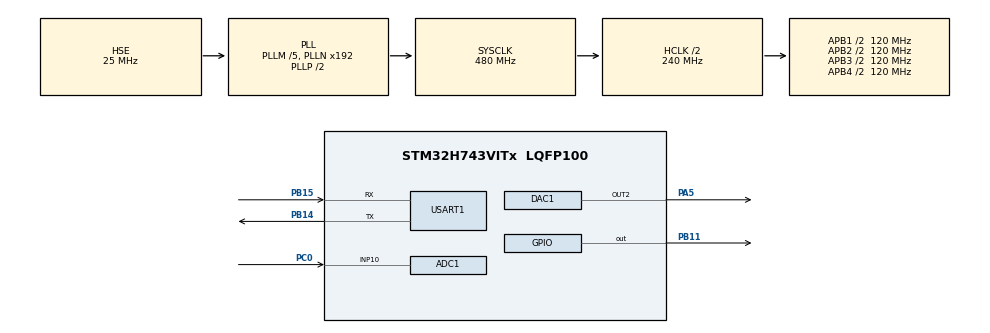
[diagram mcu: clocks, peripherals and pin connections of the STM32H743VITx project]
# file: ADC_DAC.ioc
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ADC1.Channel-1\#ChannelRegularConversion=ADC_CHANNEL_10
ADC1.ClockPrescaler=ADC_CLOCK_ASYNC_DIV1
ADC1.ConversionDataManagement=ADC_CONVERSIONDATA_DMA_CIRCULAR
ADC1.ExternalTrigConv=ADC_EXTERNALTRIG_T15_TRGO
ADC1.NbrOfConversion=1
ADC1.NbrOfConversionFlag=1
ADC1.OffsetNumber-1\#ChannelRegularConversion=ADC_OFFSET_NONE
ADC1.OffsetSignedSaturation-1\#ChannelRegularConversion=DISABLE
ADC1.Rank-1\#ChannelRegularConversion=1
ADC1.SamplingTime-1\#ChannelRegularConversion=ADC_SAMPLETIME_1CYCLE_5
ADC1.master=1
CORTEX_M7.AccessPermission-Cortex_Memory_Protection_Unit_Region0_Settings=MPU_REGION_FULL_ACCESS
CORTEX_M7.AccessPermission-Cortex_Memory_Protection_Unit_Region1_Settings=MPU_REGION_FULL_ACCESS
CORTEX_M7.AccessPermission-Cortex_Memory_Protection_Unit_Region2_Settings=MPU_REGION_FULL_ACCESS
CORTEX_M7.AccessPermission-Cortex_Memory_Protection_Unit_Region3_Settings=MPU_REGION_FULL_ACCESS
CORTEX_M7.AccessPermission-Cortex_Memory_Protection_Unit_Region4_Settings=MPU_REGION_FULL_ACCESS
CORTEX_M7.AccessPermission_S-Cortex_Memory_Protection_Unit_Region1_Settings_S=MPU_REGION_FULL_ACCESS
CORTEX_M7.AccessPermission_S-Cortex_Memory_Protection_Unit_Region2_Settings_S=MPU_REGION_FULL_ACCESS
CORTEX_M7.AccessPermission_Spec=MPU_REGION_FULL_ACCESS
CORTEX_M7.BaseAddress-Cortex_Memory_Protection_Unit_Region0_Settings=0x24000000
CORTEX_M7.BaseAddress-Cortex_Memory_Protection_Unit_Region1_Settings=0x30000000
CORTEX_M7.BaseAddress-Cortex_Memory_Protection_Unit_Region2_Settings=0x30020000
CORTEX_M7.BaseAddress-Cortex_Memory_Protection_Unit_Region3_Settings=0x30040000
CORTEX_M7.BaseAddress-Cortex_Memory_Protection_Unit_Region4_Settings=0x38000000
CORTEX_M7.BaseAddress_S-Cortex_Memory_Protection_Unit_Region1_Settings_S=0x30000000
CORTEX_M7.BaseAddress_S-Cortex_Memory_Protection_Unit_Region2_Settings_S=0x30020000
CORTEX_M7.BaseAddress_Spec=0x24000000
CORTEX_M7.CPU_DCache=Enabled
CORTEX_M7.CPU_ICache=Enabled
CORTEX_M7.DisableExec_S-Cortex_Memory_Protection_Unit_Region1_Settings_S=MPU_INSTRUCTION_ACCESS_ENABLE
CORTEX_M7.DisableExec_S-Cortex_Memory_Protection_Unit_Region2_Settings_S=MPU_INSTRUCTION_ACCESS_ENABLE
CORTEX_M7.DisableExec_Spec=MPU_INSTRUCTION_ACCESS_ENABLE
CORTEX_M7.Enable-Cortex_Memory_Protection_Unit_Region0_Settings=MPU_REGION_ENABLE
CORTEX_M7.Enable-Cortex_Memory_Protection_Unit_Region1_Settings=MPU_REGION_ENABLE
CORTEX_M7.Enable-Cortex_Memory_Protection_Unit_Region2_Settings=MPU_REGION_ENABLE
CORTEX_M7.Enable-Cortex_Memory_Protection_Unit_Region3_Settings=MPU_REGION_ENABLE
CORTEX_M7.Enable-Cortex_Memory_Protection_Unit_Region4_Settings=MPU_REGION_ENABLE
CORTEX_M7.Enable_S-Cortex_Memory_Protection_Unit_Region1_Settings_S=MPU_REGION_ENABLE
CORTEX_M7.Enable_S-Cortex_Memory_Protection_Unit_Region2_Settings_S=MPU_REGION_ENABLE
CORTEX_M7.IsBufferable-Cortex_Memory_Protection_Unit_Region0_Settings=MPU_ACCESS_BUFFERABLE
CORTEX_M7.IsBufferable_S-Cortex_Memory_Protection_Unit_Region1_Settings_S=MPU_ACCESS_NOT_BUFFERABLE
CORTEX_M7.IsBufferable_Spec=MPU_ACCESS_BUFFERABLE
CORTEX_M7.IsCacheable-Cortex_Memory_Protection_Unit_Region0_Settings=MPU_ACCESS_CACHEABLE
CORTEX_M7.IsCacheable_S-Cortex_Memory_Protection_Unit_Region1_Settings_S=MPU_ACCESS_NOT_CACHEABLE
CORTEX_M7.IsCacheable_Spec=MPU_ACCESS_CACHEABLE
CORTEX_M7.IsShareable_Spec=MPU_ACCESS_NOT_SHAREABLE
CORTEX_M7.MPU_Control=MPU_PRIVILEGED_DEFAULT
CORTEX_M7.Size-Cortex_Memory_Protection_Unit_Region0_Settings=MPU_REGION_SIZE_512KB
CORTEX_M7.Size-Cortex_Memory_Protection_Unit_Region1_Settings=MPU_REGION_SIZE_128KB
CORTEX_M7.Size-Cortex_Memory_Protection_Unit_Region2_Settings=MPU_REGION_SIZE_128KB
CORTEX_M7.Size-Cortex_Memory_Protection_Unit_Region3_Settings=MPU_REGION_SIZE_32KB
CORTEX_M7.Size-Cortex_Memory_Protection_Unit_Region4_Settings=MPU_REGION_SIZE_64KB
CORTEX_M7.Size_S-Cortex_Memory_Protection_Unit_Region1_Settings_S=MPU_REGION_SIZE_128KB
CORTEX_M7.Size_S-Cortex_Memory_Protection_Unit_Region2_Settings_S=MPU_REGION_SIZE_128KB
CORTEX_M7.Size_Spec=MPU_REGION_SIZE_512KB
CORTEX_M7.SubRegionDisable_Spec=0x0
CORTEX_M7.TypeExtField-Cortex_Memory_Protection_Unit_Region0_Settings=MPU_TEX_LEVEL1
CORTEX_M7.TypeExtField-Cortex_Memory_Protection_Unit_Region1_Settings=MPU_TEX_LEVEL1
CORTEX_M7.TypeExtField-Cortex_Memory_Protection_Unit_Region2_Settings=MPU_TEX_LEVEL1
CORTEX_M7.TypeExtField-Cortex_Memory_Protection_Unit_Region3_Settings=MPU_TEX_LEVEL1
CORTEX_M7.TypeExtField-Cortex_Memory_Protection_Unit_Region4_Settings=MPU_TEX_LEVEL1
CORTEX_M7.TypeExtField_S-Cortex_Memory_Protection_Unit_Region1_Settings_S=MPU_TEX_LEVEL1
CORTEX_M7.TypeExtField_S-Cortex_Memory_Protection_Unit_Region2_Settings_S=MPU_TEX_LEVEL1
CORTEX_M7.TypeExtField_Spec=MPU_TEX_LEVEL1
DAC1.DAC2_OutputBuffer-DAC_OUT2=DAC_OUTPUTBUFFER_DISABLE
DAC1.DAC_Channel-DAC_OUT2=DAC_CHANNEL_2
DAC1.DAC_Trigger-DAC_OUT2=DAC_TRIGGER_T6_TRGO
DAC1.WaveGeneration-DAC_OUT2=DISABLE
Dma.ADC1.0.Direction=DMA_PERIPH_TO_MEMORY
Dma.ADC1.0.EventEnable=DISABLE
Dma.ADC1.0.FIFOMode=DMA_FIFOMODE_DISABLE
Dma.ADC1.0.Instance=DMA1_Stream1
Dma.ADC1.0.MemDataAlignment=DMA_MDATAALIGN_HALFWORD
Dma.ADC1.0.MemInc=DMA_MINC_ENABLE
Dma.ADC1.0.Mode=DMA_NORMAL
Dma.ADC1.0.PeriphDataAlignment=DMA_PDATAALIGN_HALFWORD
Dma.ADC1.0.PeriphInc=DMA_PINC_DISABLE
Dma.ADC1.0.Polarity=HAL_DMAMUX_REQ_GEN_RISING
Dma.ADC1.0.Priority=DMA_PRIORITY_LOW
Dma.ADC1.0.RequestNumber=1
Dma.ADC1.0.SignalID=NONE
Dma.ADC1.0.SyncEnable=DISABLE
Dma.ADC1.0.SyncPolarity=HAL_DMAMUX_SYNC_NO_EVENT
Dma.ADC1.0.SyncRequestNumber=1
Dma.ADC1.0.SyncSignalID=NONE
Dma.DAC1_CH2.1.Direction=DMA_MEMORY_TO_PERIPH
Dma.DAC1_CH2.1.EventEnable=DISABLE
Dma.DAC1_CH2.1.FIFOMode=DMA_FIFOMODE_DISABLE
Dma.DAC1_CH2.1.Instance=DMA2_Stream0
Dma.DAC1_CH2.1.MemDataAlignment=DMA_MDATAALIGN_HALFWORD
Dma.DAC1_CH2.1.MemInc=DMA_MINC_ENABLE
Dma.DAC1_CH2.1.Mode=DMA_CIRCULAR
Dma.DAC1_CH2.1.PeriphDataAlignment=DMA_PDATAALIGN_HALFWORD
Dma.DAC1_CH2.1.PeriphInc=DMA_PINC_DISABLE
Dma.DAC1_CH2.1.Polarity=HAL_DMAMUX_REQ_GEN_RISING
Dma.DAC1_CH2.1.Priority=DMA_PRIORITY_MEDIUM
Dma.DAC1_CH2.1.RequestNumber=1
Dma.DAC1_CH2.1.SignalID=NONE
Dma.DAC1_CH2.1.SyncEnable=DISABLE
Dma.DAC1_CH2.1.SyncPolarity=HAL_DMAMUX_SYNC_NO_EVENT
Dma.DAC1_CH2.1.SyncRequestNumber=1
Dma.DAC1_CH2.1.SyncSignalID=NONE
Dma.Request0=ADC1
Dma.Request1=DAC1_CH2
Mcu.Family=STM32H7
Mcu.Name=STM32H743VITx
Mcu.Package=LQFP100
NVIC.DMA1_Stream1_IRQn=true\:0\:0\:false\:false\:true\:false\:true\:true
NVIC.DMA2_Stream0_IRQn=true\:0\:0\:false\:false\:true\:false\:true\:true
NVIC.PriorityGroup=NVIC_PRIORITYGROUP_4
PA13\ (JTMS/SWDIO).Mode=Serial_Wire
PA13\ (JTMS/SWDIO).Signal=DEBUG_JTMS-SWDIO
PA14\ (JTCK/SWCLK).Mode=Serial_Wire
PA14\ (JTCK/SWCLK).Signal=DEBUG_JTCK-SWCLK
PA5.Signal=COMP_DAC12_group
PB11.GPIO_ModeDefaultOutputPP=GPIO_MODE_OUTPUT_PP
PB11.GPIO_PuPd=GPIO_PULLUP
PB11.GPIO_Speed=GPIO_SPEED_FREQ_LOW
PB11.PinState=GPIO_PIN_SET
PB11.Signal=GPIO_Output
PB14.Mode=Asynchronous
PB14.Signal=USART1_TX
PB15.Mode=Asynchronous
PB15.Signal=USART1_RX
PC0.Signal=ADCx_INP10
PH0-OSC_IN\ (PH0).Mode=HSE-External-Oscillator
PH0-OSC_IN\ (PH0).Signal=RCC_OSC_IN
PH1-OSC_OUT\ (PH1).Mode=HSE-External-Oscillator
PH1-OSC_OUT\ (PH1).Signal=RCC_OSC_OUT
ProjectManager.HeapSize=0x200
ProjectManager.StackSize=0x400
ProjectManager.TargetToolchain=MDK-ARM V5.32
RCC.ADCFreq_Value=72000000
RCC.APB1Freq_Value=120000000
RCC.APB2Freq_Value=120000000
RCC.APB3Freq_Value=120000000
RCC.APB4Freq_Value=120000000
RCC.CortexFreq_Value=480000000
RCC.D1PPRE=RCC_APB3_DIV2
RCC.D2PPRE1=RCC_APB1_DIV2
RCC.D2PPRE2=RCC_APB2_DIV2
RCC.D3PPRE=RCC_APB4_DIV2
RCC.DIVM1=5
RCC.DIVM2=25
RCC.DIVN1=192
RCC.DIVN2=360
RCC.DIVP2=5
RCC.HCLKFreq_Value=240000000
RCC.HPRE=RCC_HCLK_DIV2
RCC.HSE_Timout=5000
RCC.PLLSourceVirtual=RCC_PLLSOURCE_HSE
RCC.ProductRev=revV
RCC.SYSCLKFreq_VALUE=480000000
RCC.SYSCLKSource=RCC_SYSCLKSOURCE_PLLCLK
RCC.USBFreq_Value=480000000
SH.ADCx_INP10.0=ADC2_INP10
SH.ADCx_INP10.1=ADC1_INP10,IN10-Single-Ended
SH.COMP_DAC12_group.0=DAC1_OUT2,DAC_OUT2
TIM15.Period=16-1
TIM15.Prescaler=50-1
TIM15.TIM_MasterOutputTrigger=TIM_TRGO_UPDATE
TIM6.AutoReloadPreload=TIM_AUTORELOAD_PRELOAD_ENABLE
TIM6.Period=200-1
TIM6.Prescaler=12-1
TIM6.TIM_MasterOutputTrigger=TIM_TRGO_UPDATE
TIM7.Prescaler=239
USART1.VirtualMode-Asynchronous=VM_ASYNC
VP_TIM15_VS_ClockSourceINT.Mode=Internal
VP_TIM6_VS_ClockSourceINT.Mode=Enable_Timer
VP_TIM7_VS_ClockSourceINT.Mode=Enable_Timer
board=custom

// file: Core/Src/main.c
/* USER CODE BEGIN Header */
/**
  ******************************************************************************
  * @file           : main.c
  * @brief          : Main program body
  ******************************************************************************
  * @attention
  *
  * Copyright (c) 2022 STMicroelectronics.
  * All rights reserved.
  *
  * This software is licensed under terms that can be found in the LICENSE file
  * in the root directory of this software component.
  * If no LICENSE file comes with this software, it is provided AS-IS.
  *
  ******************************************************************************
  */
/* USER CODE END Header */
#include "main.h"
#include "adc.h"
#include "dac.h"
#include "dma.h"
#include "tim.h"
#include "usart.h"
#include "gpio.h"

/* USER CODE BEGIN Includes */

ALIGN_32BYTES (uint16_t Dat[40]) 	__attribute__((section(".ARM.__at_0x38000000")));

/* USER CODE END Includes */

/* USER CODE BEGIN PTD */
ALIGN_32BYTES (uint16_t adc1_data[FFT_LENGTH]) 	__attribute__((section(".ARM.__at_0x30000000")));
__IO uint8_t AdcConvEnd = 0;//表示adc采集完成
void adc_init(void)
{
	HAL_ADC_DeInit(&hadc1);
    MX_ADC1_Init();	//初始化调用放这里, 确保在MX_DMA_Init()初始化后面
    HAL_Delay(100);	//有地方说这里可以等等电压稳定后再校准

    if (HAL_ADCEx_Calibration_Start(&hadc1, ADC_CALIB_OFFSET, ADC_SINGLE_ENDED) != HAL_OK)
    {
        printf("hadc1 error with HAL_ADCEx_Calibration_Start\r\n");
        Error_Handler();
    }

    if (HAL_ADC_Start_DMA(&hadc1, (uint32_t *)adc1_data, ADC1_BUFFER_SIZE) != HAL_OK)
    {
        printf("hadc1 error with HAL_ADC_Start_DMA\r\n");
        Error_Handler();
    }

		HAL_TIM_Base_Start(&htim15);
		while (!AdcConvEnd);
		AdcConvEnd = 0;
}

/* USER CODE END PTD */

/* USER CODE BEGIN PM */

void SineWave()
{
    uint16_t i;
    for( i=0;i<40;i++)
    {
  		Dat[i]=(uint16_t)((int16_t)(2048*sin(i*2*3.1415926/40))+2048);
//			Dat[i] = 5400;
    }
}
/* USER CODE END PM */

void SystemClock_Config(void);
static void MPU_Config(void);

int main(void)
{

  /* MPU Configuration--------------------------------------------------------*/
  MPU_Config();

  /* Enable I-Cache---------------------------------------------------------*/
  SCB_EnableICache();

  /* Enable D-Cache---------------------------------------------------------*/
  SCB_EnableDCache();

  /* MCU Configuration--------------------------------------------------------*/

  /* Reset of all peripherals, Initializes the Flash interface and the Systick. */
  HAL_Init();

  /* Configure the system clock */
  SystemClock_Config();

  /* Initialize all configured peripherals */
  MX_GPIO_Init();
  MX_TIM7_Init();
  MX_USART1_UART_Init();
  MX_DMA_Init();
  MX_TIM6_Init();
  MX_ADC1_Init();
  MX_TIM15_Init();
  MX_DAC1_Init();
  /* USER CODE BEGIN 2 */
	printf("start\n");
  SineWave();//生成正弦数据
  HAL_DAC_Start_DMA(&hdac1,DAC_CHANNEL_2,(uint32_t *)Dat,40,DAC_ALIGN_12B_R);//开启DMA-DAC
  HAL_TIM_Base_Start(&htim6);//打开定时器6
//  HAL_DAC_SetValue(&hdac1, DAC_CHANNEL_2, DAC_ALIGN_12B_R, 1);  //设置发生的电压

  adc_init();

//  for (u16 temp = 0; temp< 10000;temp++)
//  {
//		printf("%d\r\n", adc1_data[temp]);
//  }

  FFT_Init();
  FFT_DIS();
  /* USER CODE END 2 */

  /* Infinite loop */
  while (1)
  {

    /* USER CODE BEGIN 3 */
//	  for (u16 temp = 0; temp< 200;temp++)
//	  {
//		Dat[temp] = HAL_DAC_GetValue(&hdac1, DAC_CHANNEL_2);
//		printf("%d\r\n", Dat[temp]);
//	  }

  }
  /* USER CODE END 3 */
}

void SystemClock_Config(void)
{
  RCC_OscInitTypeDef RCC_OscInitStruct = {0};
  RCC_ClkInitTypeDef RCC_ClkInitStruct = {0};

  /** Supply configuration update enable
  */
  HAL_PWREx_ConfigSupply(PWR_LDO_SUPPLY);

  /** Configure the main internal regulator output voltage
  */
  __HAL_PWR_VOLTAGESCALING_CONFIG(PWR_REGULATOR_VOLTAGE_SCALE1);

  while(!__HAL_PWR_GET_FLAG(PWR_FLAG_VOSRDY)) {}

  __HAL_RCC_SYSCFG_CLK_ENABLE();
  __HAL_PWR_VOLTAGESCALING_CONFIG(PWR_REGULATOR_VOLTAGE_SCALE0);

  while(!__HAL_PWR_GET_FLAG(PWR_FLAG_VOSRDY)) {}

  /** Macro to configure the PLL clock source
  */
  __HAL_RCC_PLL_PLLSOURCE_CONFIG(RCC_PLLSOURCE_HSE);

  /** Initializes the RCC Oscillators according to the specified parameters
  * in the RCC_OscInitTypeDef structure.
  */
  RCC_OscInitStruct.OscillatorType = RCC_OSCILLATORTYPE_HSE;
  RCC_OscInitStruct.HSEState = RCC_HSE_ON;
  RCC_OscInitStruct.PLL.PLLState = RCC_PLL_ON;
  RCC_OscInitStruct.PLL.PLLSource = RCC_PLLSOURCE_HSE;
  RCC_OscInitStruct.PLL.PLLM = 5;
  RCC_OscInitStruct.PLL.PLLN = 192;
  RCC_OscInitStruct.PLL.PLLP = 2;
  RCC_OscInitStruct.PLL.PLLQ = 2;
  RCC_OscInitStruct.PLL.PLLR = 2;
  RCC_OscInitStruct.PLL.PLLRGE = RCC_PLL1VCIRANGE_2;
  RCC_OscInitStruct.PLL.PLLVCOSEL = RCC_PLL1VCOWIDE;
  RCC_OscInitStruct.PLL.PLLFRACN = 0;
  if (HAL_RCC_OscConfig(&RCC_OscInitStruct) != HAL_OK)
  {
    Error_Handler();
  }

  /** Initializes the CPU, AHB and APB buses clocks
  */
  RCC_ClkInitStruct.ClockType = RCC_CLOCKTYPE_HCLK|RCC_CLOCKTYPE_SYSCLK
                              |RCC_CLOCKTYPE_PCLK1|RCC_CLOCKTYPE_PCLK2
                              |RCC_CLOCKTYPE_D3PCLK1|RCC_CLOCKTYPE_D1PCLK1;
  RCC_ClkInitStruct.SYSCLKSource = RCC_SYSCLKSOURCE_PLLCLK;
  RCC_ClkInitStruct.SYSCLKDivider = RCC_SYSCLK_DIV1;
  RCC_ClkInitStruct.AHBCLKDivider = RCC_HCLK_DIV2;
  RCC_ClkInitStruct.APB3CLKDivider = RCC_APB3_DIV2;
  RCC_ClkInitStruct.APB1CLKDivider = RCC_APB1_DIV2;
  RCC_ClkInitStruct.APB2CLKDivider = RCC_APB2_DIV2;
  RCC_ClkInitStruct.APB4CLKDivider = RCC_APB4_DIV2;

  if (HAL_RCC_ClockConfig(&RCC_ClkInitStruct, FLASH_LATENCY_4) != HAL_OK)
  {
    Error_Handler();
  }
}

/* USER CODE BEGIN 4 */
void HAL_ADC_ConvCpltCallback(ADC_HandleTypeDef* hadc)
{
   if(hadc->Instance == ADC1)
	{
      //SCB_InvalidateDCache_by_Addr((uint32_t *) &adc1_data[0], ADC1_BUFFER_SIZE);
   }
	 AdcConvEnd = 1;
}

/* USER CODE END 4 */

/* MPU Configuration */

void MPU_Config(void)
{
  MPU_Region_InitTypeDef MPU_InitStruct = {0};

  /* Disables the MPU */
  HAL_MPU_Disable();

  /** Initializes and configures the Region and the memory to be protected
  */
  MPU_InitStruct.Enable = MPU_REGION_ENABLE;
  MPU_InitStruct.Number = MPU_REGION_NUMBER0;
  MPU_InitStruct.BaseAddress = 0x24000000;
  MPU_InitStruct.Size = MPU_REGION_SIZE_512KB;
  MPU_InitStruct.SubRegionDisable = 0x0;
  MPU_InitStruct.TypeExtField = MPU_TEX_LEVEL1;
  MPU_InitStruct.AccessPermission = MPU_REGION_FULL_ACCESS;
  MPU_InitStruct.DisableExec = MPU_INSTRUCTION_ACCESS_ENABLE;
  MPU_InitStruct.IsShareable = MPU_ACCESS_NOT_SHAREABLE;
  MPU_InitStruct.IsCacheable = MPU_ACCESS_CACHEABLE;
  MPU_InitStruct.IsBufferable = MPU_ACCESS_BUFFERABLE;

  HAL_MPU_ConfigRegion(&MPU_InitStruct);

  /** Initializes and configures the Region and the memory to be protected
  */
  MPU_InitStruct.Number = MPU_REGION_NUMBER1;
  MPU_InitStruct.BaseAddress = 0x30000000;
  MPU_InitStruct.Size = MPU_REGION_SIZE_128KB;
  MPU_InitStruct.IsCacheable = MPU_ACCESS_NOT_CACHEABLE;
  MPU_InitStruct.IsBufferable = MPU_ACCESS_NOT_BUFFERABLE;

  HAL_MPU_ConfigRegion(&MPU_InitStruct);

  /** Initializes and configures the Region and the memory to be protected
  */
  MPU_InitStruct.Number = MPU_REGION_NUMBER2;
  MPU_InitStruct.BaseAddress = 0x30020000;

  HAL_MPU_ConfigRegion(&MPU_InitStruct);

  /** Initializes and configures the Region and the memory to be protected
  */
  MPU_InitStruct.Number = MPU_REGION_NUMBER3;
  MPU_InitStruct.BaseAddress = 0x30040000;
  MPU_InitStruct.Size = MPU_REGION_SIZE_32KB;

  HAL_MPU_ConfigRegion(&MPU_InitStruct);

  /** Initializes and configures the Region and the memory to be protected
  */
  MPU_InitStruct.Number = MPU_REGION_NUMBER4;
  MPU_InitStruct.BaseAddress = 0x38000000;
  MPU_InitStruct.Size = MPU_REGION_SIZE_64KB;

  HAL_MPU_ConfigRegion(&MPU_InitStruct);
  /* Enables the MPU */
  HAL_MPU_Enable(MPU_PRIVILEGED_DEFAULT);

}

void Error_Handler(void)
{
  __disable_irq();
  while (1)
  {
  }
}
